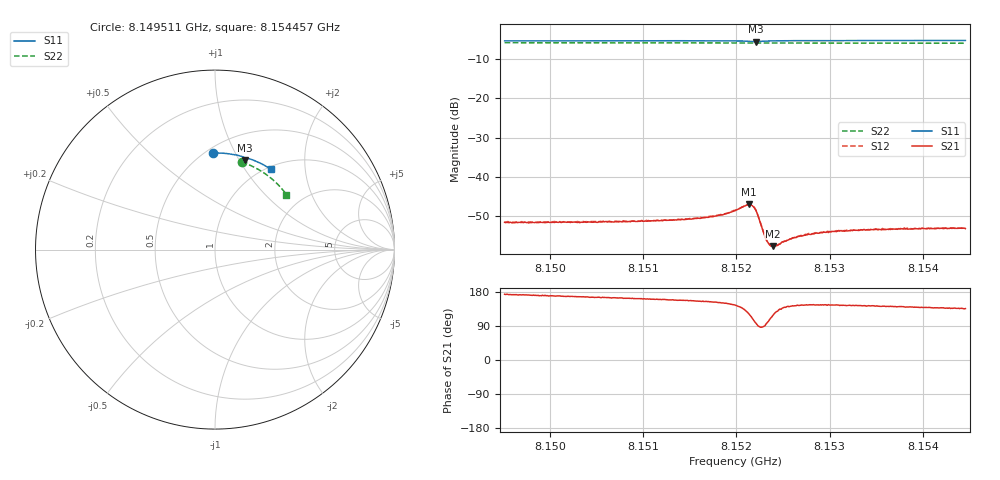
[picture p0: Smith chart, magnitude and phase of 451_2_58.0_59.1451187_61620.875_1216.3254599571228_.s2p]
#  HZ  S  RI  R  50.00
! Rohde & Schwarz Vector Network Analyzer
! Rohde-Schwarz,ZNB20-2Port,1311601062101988,3.16
! Created: UTC 3/21/2024, 1:10:28 AM
! freq[Hz]  re:S11  im:S11  re:S21  im:S21  re:S12  im:S12  re:S22  im:S22
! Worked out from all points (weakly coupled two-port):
!   401 points, 8.149511 GHz to 8.154457 GHz, reference 50 ohm
!   highest |S21| = -47.01 dB at 8.152133 GHz (marker M1); lowest = -57.6 dB at 8.152392 GHz (marker M2)
!   lowest |S11| = -5.6 dB at 8.152207 GHz (marker M3), VSWR 3.23, Z = 38.4 + j53.1 ohm
!   |S11| at or under -10 dB: nowhere
!   |S22| runs from -6.0 to -5.8 dB; largest |S21 - S12| = 0.00012
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8.1495113e9  -0.00974 0.5374  -0.00262 0.000303  -0.00266 0.000389  0.1477 0.4882
8.1503398e9  0.0482 0.5368  -0.00259 0.000619  -0.00263 0.000669  0.1974 0.4691
8.1511682e9  0.1057 0.5298  -0.0026 0.000961  -0.00259 0.00101  0.2445 0.4448
8.1514526e9  0.1255 0.5257  -0.00265 0.00111  -0.0027 0.00116  0.2601 0.4356
8.1516629e9  0.1404 0.5222  -0.00275 0.00132  -0.00272 0.00135  0.2715 0.4282
8.151836e9  0.153 0.5183  -0.00287 0.0016  -0.00288 0.00165  0.2806 0.4219
8.1519844e9  0.1641 0.5132  -0.00305 0.00213  -0.00303 0.00222  0.2882 0.4163
8.1521327e9  0.1725 0.5024  -0.00237 0.00378  -0.00234 0.0038  0.2953 0.4104
8.1521698e9  0.1712 0.4994  -0.00148 0.00405  -0.00145 0.00411  0.2972 0.4091
8.1522069e9  0.1684 0.4991  -0.000494 0.00376  -0.000441 0.0038  0.2989 0.4077
8.1522317e9  0.1674 0.5008  -4.77e-06 0.0032  -2.29e-06 0.00321  0.3002 0.4068
8.1522935e9  0.1699 0.5057  4.54e-05 0.00192  7.33e-05 0.00196  0.3032 0.4048
8.1523182e9  0.172 0.5066  -0.000147 0.00158  -9.37e-05 0.00164  0.3045 0.4038
8.1523553e9  0.1754 0.5076  -0.000391 0.00131  -0.000362 0.00135  0.3064 0.4025
8.1523924e9  0.1788 0.5078  -0.00062 0.00117  -0.00065 0.00116  0.3083 0.401
8.1524419e9  0.1832 0.5075  -0.000845 0.00105  -0.000889 0.00104  0.3108 0.3989
8.1526026e9  0.1957 0.5047  -0.00133 0.000998  -0.00131 0.00106  0.3188 0.3924
8.1527139e9  0.2037 0.5022  -0.00146 0.00104  -0.00147 0.00105  0.324 0.3877
8.1528128e9  0.2106 0.4997  -0.00156 0.00107  -0.00154 0.0011  0.3288 0.3836
8.1531096e9  0.2303 0.4918  -0.00165 0.00121  -0.00167 0.00121  0.3424 0.3708
8.1536413e9  0.2638 0.4757  -0.00168 0.00135  -0.0017 0.00137  0.3655 0.3467
8.1544574e9  0.3123 0.4466  -0.00157 0.00154  -0.00158 0.00158  0.3976 0.3067
